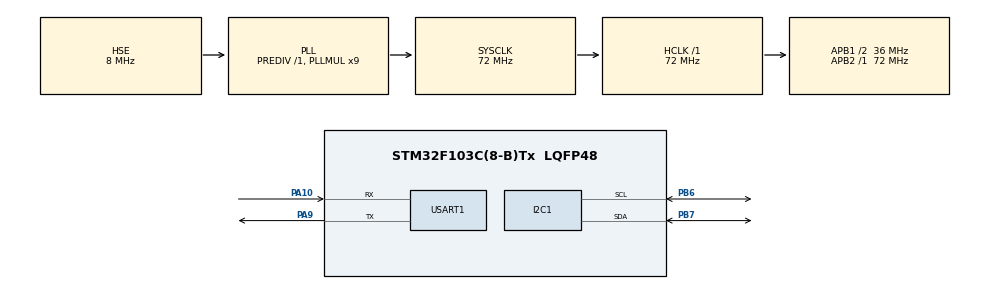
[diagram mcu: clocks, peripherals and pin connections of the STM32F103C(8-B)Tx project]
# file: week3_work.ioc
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Mcu.Family=STM32F1
Mcu.Name=STM32F103C(8-B)Tx
Mcu.Package=LQFP48
NVIC.PriorityGroup=NVIC_PRIORITYGROUP_4
NVIC.USART1_IRQn=true\:0\:0\:false\:false\:true\:true\:true\:true
PA10.Mode=Asynchronous
PA10.Signal=USART1_RX
PA13.Mode=Serial_Wire
PA13.Signal=SYS_JTMS-SWDIO
PA14.Mode=Serial_Wire
PA14.Signal=SYS_JTCK-SWCLK
PA9.Mode=Asynchronous
PA9.Signal=USART1_TX
PB6.Mode=I2C
PB6.Signal=I2C1_SCL
PB7.Mode=I2C
PB7.Signal=I2C1_SDA
PD0-OSC_IN.Mode=HSE-External-Oscillator
PD0-OSC_IN.Signal=RCC_OSC_IN
PD1-OSC_OUT.Mode=HSE-External-Oscillator
PD1-OSC_OUT.Signal=RCC_OSC_OUT
ProjectManager.HeapSize=0x200
ProjectManager.StackSize=0x400
ProjectManager.TargetToolchain=Makefile
RCC.AHBFreq_Value=72000000
RCC.APB1CLKDivider=RCC_HCLK_DIV2
RCC.APB1Freq_Value=36000000
RCC.APB1TimFreq_Value=72000000
RCC.APB2Freq_Value=72000000
RCC.APB2TimFreq_Value=72000000
RCC.HCLKFreq_Value=72000000
RCC.PLLMUL=RCC_PLL_MUL9
RCC.PLLSourceVirtual=RCC_PLLSOURCE_HSE
RCC.SYSCLKFreq_VALUE=72000000
RCC.SYSCLKSource=RCC_SYSCLKSOURCE_PLLCLK
RCC.USBFreq_Value=72000000
USART1.VirtualMode=VM_ASYNC
board=custom

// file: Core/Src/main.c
/* USER CODE BEGIN Header */
/**
 ******************************************************************************
 * @file           : main.c
 * @brief          : Main program body
 ******************************************************************************
 * @attention
 *
 * Copyright (c) 2026 STMicroelectronics.
 * All rights reserved.
 *
 * This software is licensed under terms that can be found in the LICENSE file
 * in the root directory of this software component.
 * If no LICENSE file comes with this software, it is provided AS-IS.
 *
 ******************************************************************************
 */
/* USER CODE END Header */
#include "main.h"
#include "i2c.h"
#include "usart.h"
#include "gpio.h"

/* USER CODE BEGIN Includes */
#include "bsp_uart.h"
#include "bsp_vofa.h"
#include <math.h>
#include "OLED.h"
/* USER CODE END Includes */

/* USER CODE BEGIN PD */
#define PI 3.1415926f
/* USER CODE END PD */

void SystemClock_Config(void);

/* USER CODE BEGIN 0 */

float data[1];
float t = 0.0f;
void Mode_1(void);
void Mode_2(void);
void Mode_3(void);
/* USER CODE END 0 */

int main(void)
{

  /* MCU Configuration--------------------------------------------------------*/

  /* Reset of all peripherals, Initializes the Flash interface and the Systick. */
  HAL_Init();

  /* Configure the system clock */
  SystemClock_Config();

  /* Initialize all configured peripherals */
  MX_GPIO_Init();
  MX_I2C1_Init();
  OLED_init();
  OLED_display_on();
  OLED_LOGO();
  MX_USART1_UART_Init();
  /* USER CODE BEGIN 2 */
  BSP_UART_Init();

  /* USER CODE END 2 */

  /* Infinite loop */
  while (1)
  {

    /* USER CODE BEGIN 3 */

    static uint16_t last_mode = 0;
    if (last_mode != cur_mode)
    {
      last_mode = cur_mode;
      if (cur_mode == '1')
      {
        t = 0.0f;

        OLED_operate_gram(PEN_CLEAR);
        OLED_show_string(2, 2, "Sine");
        OLED_refresh_gram();
      }
      else if (cur_mode == '2')
      {
        t = -1.00f;

        OLED_operate_gram(PEN_CLEAR);
        OLED_show_string(2, 2, "Sawtooth");
        OLED_refresh_gram();
      }
      else if (cur_mode == '3')
      {
        t = -0.75f;

        OLED_operate_gram(PEN_CLEAR);
        OLED_show_string(2, 2, "Square");
        OLED_refresh_gram();
      }
    }

    switch (cur_mode)
    {
    case '1':
      Mode_1();
      break;

    case '2':
      Mode_2();
      break;

    case '3':
      Mode_3();
      break;
    }
    HAL_Delay(10);
  }
  /* USER CODE END 3 */
}

void SystemClock_Config(void)
{
  RCC_OscInitTypeDef RCC_OscInitStruct = {0};
  RCC_ClkInitTypeDef RCC_ClkInitStruct = {0};

  /** Initializes the RCC Oscillators according to the specified parameters
   * in the RCC_OscInitTypeDef structure.
   */
  RCC_OscInitStruct.OscillatorType = RCC_OSCILLATORTYPE_HSE;
  RCC_OscInitStruct.HSEState = RCC_HSE_ON;
  RCC_OscInitStruct.HSEPredivValue = RCC_HSE_PREDIV_DIV1;
  RCC_OscInitStruct.HSIState = RCC_HSI_ON;
  RCC_OscInitStruct.PLL.PLLState = RCC_PLL_ON;
  RCC_OscInitStruct.PLL.PLLSource = RCC_PLLSOURCE_HSE;
  RCC_OscInitStruct.PLL.PLLMUL = RCC_PLL_MUL9;
  if (HAL_RCC_OscConfig(&RCC_OscInitStruct) != HAL_OK)
  {
    Error_Handler();
  }

  /** Initializes the CPU, AHB and APB buses clocks
   */
  RCC_ClkInitStruct.ClockType = RCC_CLOCKTYPE_HCLK | RCC_CLOCKTYPE_SYSCLK | RCC_CLOCKTYPE_PCLK1 | RCC_CLOCKTYPE_PCLK2;
  RCC_ClkInitStruct.SYSCLKSource = RCC_SYSCLKSOURCE_PLLCLK;
  RCC_ClkInitStruct.AHBCLKDivider = RCC_SYSCLK_DIV1;
  RCC_ClkInitStruct.APB1CLKDivider = RCC_HCLK_DIV2;
  RCC_ClkInitStruct.APB2CLKDivider = RCC_HCLK_DIV1;

  if (HAL_RCC_ClockConfig(&RCC_ClkInitStruct, FLASH_LATENCY_2) != HAL_OK)
  {
    Error_Handler();
  }
}

/* USER CODE BEGIN 4 */
void Mode_1(void)
{

  data[0] = 2 * sin(t * PI); // 记得在某个地方要把t重置为0便于后续继续执行其他挡位（不一定，后面再思考）
  t += 0.02f;
  if (t >= 2.00f)
    t = 0.00f;
  Vofa_JustFloat(data, 1);
}

void Mode_2(void)
{
  data[0] = t; // 注意，后续在主体中都要设置对应的t取值，要不然循环不成立  t=-1.00f

  t += 0.04f;
  if (t >= 1.00f)
    t = -1.00f;
  Vofa_JustFloat(data, 1);
}

void Mode_3(void)
{
  t += 0.01f;
  if (t >= 0.75f)
    t = -0.75f;
  data[0] = (t < 0.0f) ? -0.50f : 0.50f;
  Vofa_JustFloat(data, 1);
}

/* USER CODE END 4 */

void Error_Handler(void)
{
  __disable_irq();
  while (1)
  {
  }
}
